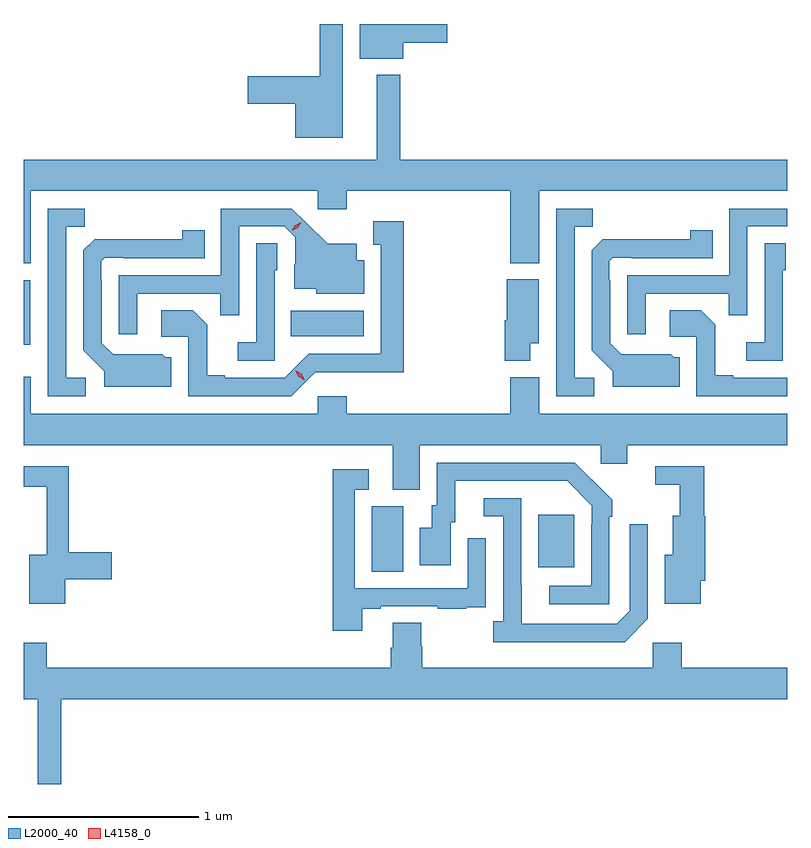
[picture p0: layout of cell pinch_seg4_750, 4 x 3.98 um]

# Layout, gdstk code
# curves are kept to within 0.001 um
import gdstk
lib = gdstk.Library(unit=1e-6, precision=1e-09)
def R(c, l, rs):  # rectangles x0, y0, x1, y1
    for r in rs: c.add(gdstk.rectangle(r[:2], r[2:], *l))
def P(c, l, *ps):  # polygons
    for p in ps: c.add(gdstk.Polygon(p, *l))
L2000_40 = (2000, 40)
L4158_0 = (4158, 0)

pinch_seg4_750 = lib.new_cell('pinch_seg4_750')
R(pinch_seg4_750, L2000_40, [(772.046,816.136,772.21,816.48), (772.919,816.161,773.107,816.436), (770.223,817.326,770.257,817.663), (771.622,817.37,772.003,817.504)])
P(pinch_seg4_750, L2000_40, [(771.895,819.007),(771.774,819.007),(771.774,818.732),(771.396,818.732),(771.396,818.59),(771.644,818.59),(771.644,818.411),(771.895,818.411)],
  [(772.21,818.909),(772.441,818.909),(772.441,819.007),(771.983,819.007),(771.983,818.825),(772.21,818.825)],
  [(770.26,818.132),(771.762,818.132),(771.762,818.037),(771.914,818.037),(771.914,818.132),(772.772,818.132),(772.772,817.754),(772.924,817.754),(772.924,818.132),(774.223,818.132),(774.223,818.296),(772.195,818.296),(772.195,818.74),(772.073,818.74),(772.073,818.296),(770.223,818.296),(770.223,817.752),(770.26,817.752)],
  [(770.817,817.593),(771.253,817.593),(771.253,817.48),(771.351,817.48),(771.351,817.947),(771.588,817.947),(771.645,817.89),(771.645,817.748),(771.641,817.748),(771.641,817.619),(771.756,817.619),(771.756,817.592),(772.006,817.592),(772.006,817.768),(771.967,817.768),(771.967,817.855),(771.815,817.855),(771.628,818.04),(771.255,818.04),(771.255,817.689),(770.721,817.689),(770.721,817.38),(770.817,817.38)],
  [(773.212,817.152),(773.109,817.152),(773.109,817.945),(773.205,817.945),(773.205,818.04),(773.013,818.04),(773.013,817.056),(773.212,817.056)],
  [(770.548,817.152),(770.445,817.152),(770.445,817.945),(770.541,817.945),(770.541,818.04),(770.349,818.04),(770.349,817.056),(770.548,817.056)],
  [(773.481,817.593),(773.917,817.593),(773.917,817.48),(774.015,817.48),(774.015,817.947),(774.223,817.947),(774.223,818.04),(773.919,818.04),(773.919,817.689),(773.385,817.689),(773.385,817.38),(773.481,817.38)],
  [(771.75,817.182),(772.213,817.181),(772.213,817.972),(772.055,817.972),(772.055,817.851),(772.094,817.851),(772.094,817.278),(771.717,817.278),(771.591,817.152),(771.277,817.152),(771.277,817.165),(771.183,817.165),(771.183,817.432),(771.107,817.508),(770.943,817.508),(770.943,817.368),(771.084,817.368),(771.084,817.056),(771.624,817.056)],
  [(770.995,817.26),(770.964,817.26),(770.948,817.276),(770.691,817.275),(770.631,817.335),(770.631,817.664),(770.628,817.664),(770.628,817.764),(770.646,817.782),(770.746,817.782),(770.746,817.779),(771.17,817.779),(771.17,817.927),(771.052,817.927),(771.052,817.88),(770.594,817.879),(770.535,817.82),(770.535,817.298),(770.645,817.188),(770.645,817.106),(770.995,817.106)],
  [(773.659,817.26),(773.628,817.26),(773.612,817.276),(773.355,817.275),(773.295,817.335),(773.295,817.664),(773.292,817.664),(773.292,817.764),(773.31,817.782),(773.41,817.782),(773.41,817.779),(773.834,817.779),(773.834,817.927),(773.716,817.927),(773.716,817.88),(773.258,817.879),(773.199,817.82),(773.199,817.298),(773.309,817.188),(773.309,817.106),(773.659,817.106)],
  [(774.201,817.716),(774.216,817.716),(774.216,817.859),(774.105,817.859),(774.105,817.339),(774.009,817.339),(774.009,817.242),(774.201,817.242)],
  [(771.537,817.716),(771.552,817.716),(771.552,817.859),(771.441,817.859),(771.441,817.339),(771.345,817.339),(771.345,817.242),(771.537,817.242)],
  [(772.876,817.334),(772.921,817.334),(772.921,817.669),(772.754,817.669),(772.754,817.455),(772.742,817.455),(772.742,817.241),(772.876,817.241)],
  [(774.223,817.152),(773.941,817.152),(773.941,817.165),(773.847,817.165),(773.847,817.432),(773.771,817.508),(773.607,817.508),(773.607,817.368),(773.748,817.368),(773.748,817.056),(774.223,817.056)],
  [(772.297,816.8),(773.247,816.8),(773.247,816.702),(773.386,816.702),(773.386,816.8),(774.223,816.8),(774.223,816.964),(772.924,816.964),(772.924,817.156),(772.772,817.156),(772.772,816.964),(771.914,816.964),(771.914,817.057),(771.762,817.057),(771.762,816.964),(770.26,816.964),(770.26,817.159),(770.223,817.159),(770.223,816.8),(772.157,816.8),(772.157,816.565),(772.297,816.565)],
  [(773.292,816.425),(773.307,816.425),(773.307,816.513),(773.11,816.708),(772.386,816.708),(772.386,816.486),(772.361,816.486),(772.361,816.367),(772.298,816.367),(772.298,816.171),(772.459,816.171),(772.459,816.396),(772.483,816.396),(772.483,816.612),(773.071,816.612),(773.199,816.483),(773.199,816.383),(773.196,816.383),(773.196,816.063),(772.977,816.063),(772.977,815.967),(773.292,815.967)],
  [(773.77,816.09),(773.795,816.09),(773.795,816.426),(773.789,816.426),(773.789,816.69),(773.532,816.69),(773.532,816.593),(773.661,816.593),(773.661,816.43),(773.624,816.43),(773.624,816.226),(773.582,816.226),(773.582,815.969),(773.77,815.969)],
  [(770.44,816.097),(770.683,816.097),(770.683,816.239),(770.459,816.239),(770.459,816.69),(770.223,816.69),(770.223,816.582),(770.342,816.582),(770.342,816.226),(770.252,816.226),(770.252,815.969),(770.44,815.969)],
  [(771.997,815.943),(772.093,815.943),(772.093,815.955),(772.393,815.955),(772.393,815.943),(772.541,815.943),(772.541,815.949),(772.643,815.949),(772.643,816.058),(772.644,816.058),(772.644,816.313),(772.548,816.313),(772.548,816.051),(771.957,816.051),(771.957,816.567),(772.03,816.567),(772.03,816.673),(771.841,816.673),(771.841,815.826),(771.997,815.826)],
  [(773.493,815.889),(773.493,816.385),(773.397,816.385),(773.397,815.931),(773.331,815.865),(772.831,815.865),(772.83,816.522),(772.632,816.522),(772.632,816.426),(772.734,816.426),(772.734,815.878),(772.683,815.878),(772.683,815.768),(773.372,815.768)],
  [(770.419,815.468),(774.223,815.468),(774.223,815.632),(773.672,815.632),(773.672,815.764),(773.52,815.764),(773.52,815.632),(772.31,815.632),(772.31,815.745),(772.305,815.745),(772.305,815.87),(772.157,815.87),(772.157,815.738),(772.145,815.738),(772.145,815.632),(770.342,815.632),(770.342,815.764),(770.223,815.764),(770.223,815.468),(770.297,815.468),(770.297,815.024),(770.419,815.024)])
P(pinch_seg4_750, L4158_0, [(771.694,817.14),(771.662,817.16),(771.644,817.192),(771.644,817.192),(771.645,817.192),(771.676,817.173),(771.694,817.141),(771.694,817.14)],
  [(771.628,817.924),(771.628,817.924),(771.646,817.953),(771.677,817.968),(771.677,817.968),(771.677,817.968),(771.659,817.938),(771.628,817.924)])

lib.write_gds('pinch_seg4_750.gds')
